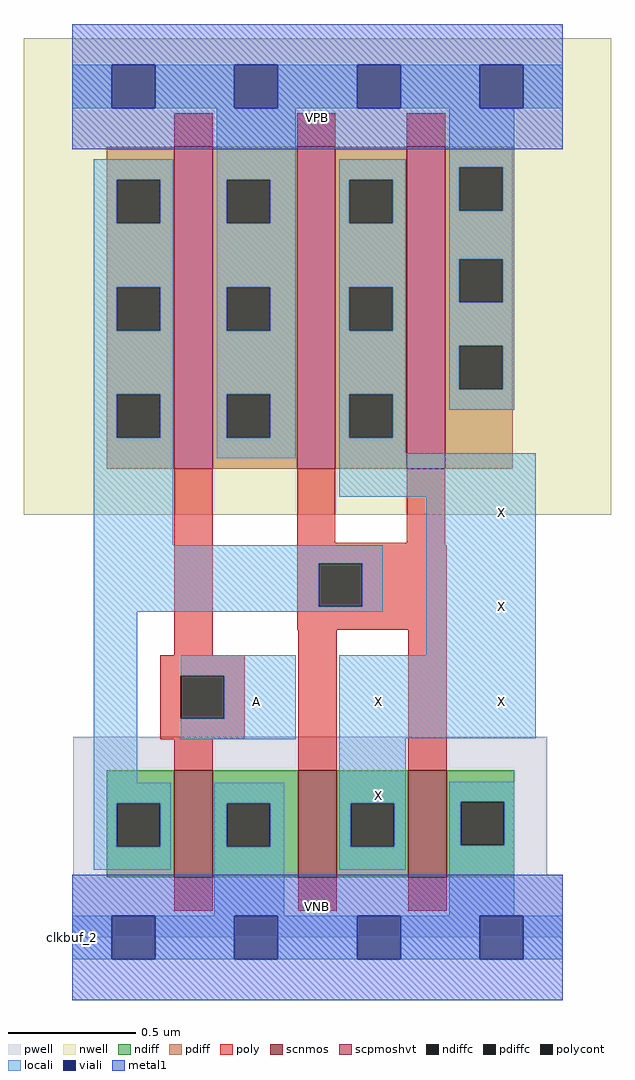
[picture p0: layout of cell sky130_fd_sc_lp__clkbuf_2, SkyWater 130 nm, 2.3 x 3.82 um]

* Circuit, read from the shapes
.subckt sky130_fd_sc_lp__clkbuf_2 A VGND VNB VPB VPWR X
XM1 VGND A n1 VNB sky130_fd_pr__nfet_01v8 w=0.42 l=0.15
XM2 X n1 VGND VNB sky130_fd_pr__nfet_01v8 w=0.42 l=0.15 m=2
XM3 VPWR A n1 VPB sky130_fd_pr__pfet_01v8_hvt w=1.26 l=0.15
XM4 X n1 VPWR VPB sky130_fd_pr__pfet_01v8_hvt w=1.26 l=0.15 m=2
.ends

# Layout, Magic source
magic
tech sky130A
magscale 1 2
<< nwell >>
rect -38 331 422 704
<< pwell >>
rect 1 49 372 157
rect 0 0 384 49
<< scnmos >>
rect 80 47 110 131
rect 177 47 207 131
rect 263 47 293 131
<< scpmoshvt >>
rect 80 367 110 619
rect 176 367 206 619
rect 262 367 292 619
<< ndiff >>
rect 27 105 80 131
rect 27 71 35 105
rect 69 71 80 105
rect 27 47 80 71
rect 110 105 177 131
rect 110 71 121 105
rect 155 71 177 105
rect 110 47 177 71
rect 207 105 263 131
rect 207 71 218 105
rect 252 71 263 105
rect 207 47 263 71
rect 293 106 346 131
rect 293 72 304 106
rect 338 72 346 106
rect 293 47 346 72
<< pdiff >>
rect 27 593 80 619
rect 27 559 35 593
rect 69 559 80 593
rect 27 509 80 559
rect 27 475 35 509
rect 69 475 80 509
rect 27 425 80 475
rect 27 391 35 425
rect 69 391 80 425
rect 27 367 80 391
rect 110 593 176 619
rect 110 559 121 593
rect 155 559 176 593
rect 110 509 176 559
rect 110 475 121 509
rect 155 475 176 509
rect 110 425 176 475
rect 110 391 121 425
rect 155 391 176 425
rect 110 367 176 391
rect 206 593 262 619
rect 206 559 217 593
rect 251 559 262 593
rect 206 509 262 559
rect 206 475 217 509
rect 251 475 262 509
rect 206 425 262 475
rect 206 391 217 425
rect 251 391 262 425
rect 206 367 262 391
rect 292 603 345 619
rect 292 569 303 603
rect 337 569 345 603
rect 292 531 345 569
rect 292 497 303 531
rect 337 497 345 531
rect 292 463 345 497
rect 292 429 303 463
rect 337 429 345 463
rect 292 367 345 429
<< ndiffc >>
rect 35 71 69 105
rect 121 71 155 105
rect 218 71 252 105
rect 304 72 338 106
<< pdiffc >>
rect 35 559 69 593
rect 35 475 69 509
rect 35 391 69 425
rect 121 559 155 593
rect 121 475 155 509
rect 121 391 155 425
rect 217 559 251 593
rect 217 475 251 509
rect 217 391 251 425
rect 303 569 337 603
rect 303 497 337 531
rect 303 429 337 463
<< poly >>
rect 80 619 110 645
rect 176 619 206 645
rect 262 619 292 645
rect 80 221 110 367
rect 176 309 206 367
rect 262 309 292 367
rect 176 307 292 309
rect 176 293 293 307
rect 176 259 193 293
rect 227 259 293 293
rect 176 241 293 259
rect 69 205 135 221
rect 69 171 85 205
rect 119 171 135 205
rect 69 155 135 171
rect 80 131 110 155
rect 177 131 207 241
rect 263 131 293 241
rect 80 21 110 47
rect 177 21 207 47
rect 263 21 293 47
<< polycont >>
rect 193 259 227 293
rect 85 171 119 205
<< locali >>
rect 0 649 31 683
rect 65 649 127 683
rect 161 649 223 683
rect 257 649 319 683
rect 353 649 384 683
rect 17 593 79 609
rect 17 559 35 593
rect 69 559 79 593
rect 17 509 79 559
rect 17 475 35 509
rect 69 475 79 509
rect 17 425 79 475
rect 17 391 35 425
rect 69 391 79 425
rect 17 307 79 391
rect 113 593 175 649
rect 113 559 121 593
rect 155 559 175 593
rect 113 509 175 559
rect 113 475 121 509
rect 155 475 175 509
rect 113 425 175 475
rect 113 391 121 425
rect 155 391 175 425
rect 113 375 175 391
rect 209 593 261 609
rect 209 559 217 593
rect 251 559 261 593
rect 209 509 261 559
rect 209 475 217 509
rect 251 475 261 509
rect 209 425 261 475
rect 209 391 217 425
rect 251 391 261 425
rect 295 603 346 649
rect 295 569 303 603
rect 337 569 346 603
rect 295 531 346 569
rect 295 497 303 531
rect 337 497 346 531
rect 295 463 346 497
rect 295 429 303 463
rect 337 429 346 463
rect 295 413 346 429
rect 209 379 261 391
rect 209 345 363 379
rect 17 293 243 307
rect 17 259 193 293
rect 227 259 243 293
rect 17 255 243 259
rect 17 121 51 255
rect 277 221 363 345
rect 85 205 175 221
rect 119 171 175 205
rect 85 155 175 171
rect 209 156 363 221
rect 17 105 77 121
rect 17 71 35 105
rect 69 71 77 105
rect 17 53 77 71
rect 111 105 166 121
rect 111 71 121 105
rect 155 71 166 105
rect 111 17 166 71
rect 209 105 261 156
rect 209 71 218 105
rect 252 71 261 105
rect 209 53 261 71
rect 295 106 346 122
rect 295 72 304 106
rect 338 72 346 106
rect 295 17 346 72
rect 0 -17 31 17
rect 65 -17 127 17
rect 161 -17 223 17
rect 257 -17 319 17
rect 353 -17 384 17
<< viali >>
rect 31 649 65 683
rect 127 649 161 683
rect 223 649 257 683
rect 319 649 353 683
rect 31 -17 65 17
rect 127 -17 161 17
rect 223 -17 257 17
rect 319 -17 353 17
<< metal1 >>
rect 0 683 384 715
rect 0 649 31 683
rect 65 649 127 683
rect 161 649 223 683
rect 257 649 319 683
rect 353 649 384 683
rect 0 617 384 649
rect 0 17 384 49
rect 0 -17 31 17
rect 65 -17 127 17
rect 161 -17 223 17
rect 257 -17 319 17
rect 353 -17 384 17
rect 0 -49 384 -17
<< labels >>
flabel pwell s 0 0 384 49 0 FreeSans 200 0 0 0 VNB
port 3 nsew ground bidirectional
flabel nwell s 0 617 384 666 0 FreeSans 200 0 0 0 VPB
port 4 nsew power bidirectional
rlabel comment s 0 0 0 0 4 clkbuf_2
flabel metal1 s 0 617 384 666 0 FreeSans 340 0 0 0 VPWR
port 5 nsew power bidirectional
flabel metal1 s 0 0 384 49 0 FreeSans 340 0 0 0 VGND
port 2 nsew ground bidirectional
flabel locali s 223 94 257 128 0 FreeSans 340 0 0 0 X
port 6 nsew signal output
flabel locali s 127 168 161 202 0 FreeSans 340 0 0 0 A
port 1 nsew signal input
flabel locali s 223 168 257 202 0 FreeSans 340 0 0 0 X
port 6 nsew signal output
flabel locali s 319 316 353 350 0 FreeSans 340 0 0 0 X
port 6 nsew signal output
flabel locali s 319 242 353 276 0 FreeSans 340 0 0 0 X
port 6 nsew signal output
flabel locali s 319 168 353 202 0 FreeSans 340 0 0 0 X
port 6 nsew signal output
<< properties >>
string LEFsite unit
string LEFclass CORE
string FIXED_BBOX 0 0 384 666
string GDS_FILE $PDKPATH/libs.ref/sky130_fd_sc_lp/gds/sky130_fd_sc_lp.gds
string LEFsymmetry X Y R90
string GDS_END 662144
string GDS_START 657550
<< end >>
